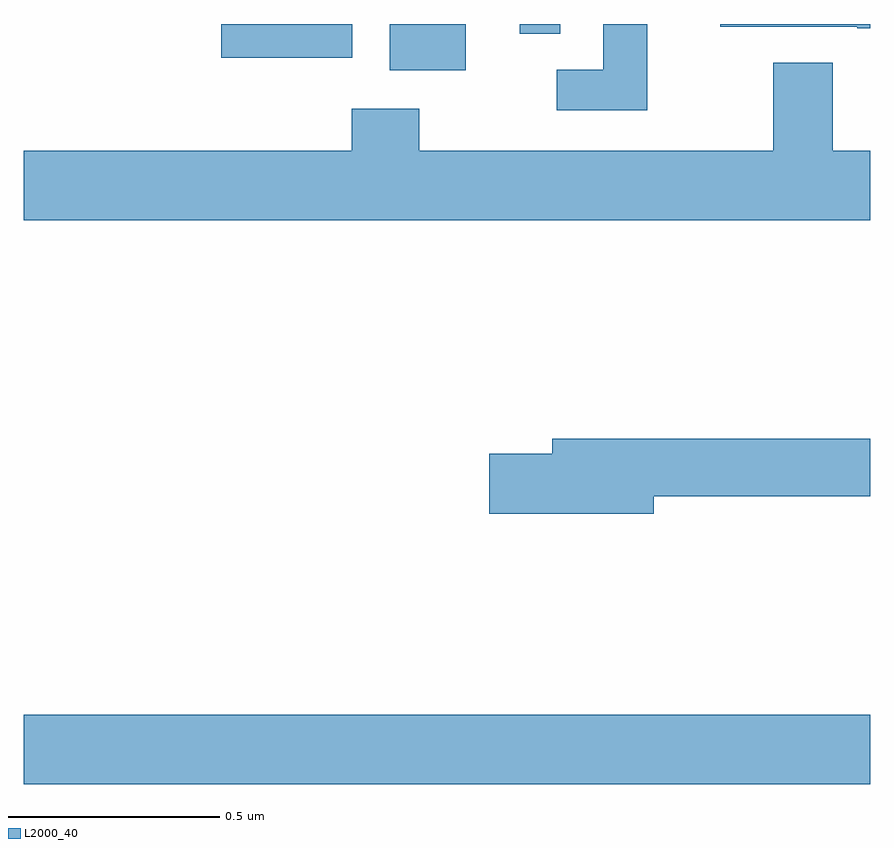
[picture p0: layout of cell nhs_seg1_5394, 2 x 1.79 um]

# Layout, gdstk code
import gdstk
lib = gdstk.Library(unit=1e-6, precision=1e-09)
def R(c, l, rs):  # rectangles x0, y0, x1, y1
    for r in rs: c.add(gdstk.rectangle(r[:2], r[2:], *l))
def P(c, l, *ps):  # polygons
    for p in ps: c.add(gdstk.Polygon(p, *l))
L2000_40 = (2000, 40)

nhs_seg1_5394 = lib.new_cell('nhs_seg1_5394')
R(nhs_seg1_5394, L2000_40, [(178,546.404,180,546.568), (178.865,548.09,179.044,548.199), (178.467,548.119,178.776,548.199), (179.172,548.176,179.268,548.199)])
P(nhs_seg1_5394, L2000_40, [(179.473,548.199),(179.369,548.199),(179.369,548.091),(179.259,548.091),(179.259,547.995),(179.473,547.995)],
  [(180,548.199),(179.645,548.199),(179.645,548.193),(179.969,548.193),(179.969,548.189),(180,548.189)],
  [(180,547.9),(179.911,547.9),(179.911,548.108),(179.771,548.108),(179.771,547.9),(178.935,547.9),(178.935,547.999),(178.775,547.999),(178.775,547.9),(178,547.9),(178,547.736),(180,547.736)],
  [(179.488,547.084),(180,547.084),(180,547.22),(179.249,547.22),(179.249,547.184),(179.1,547.184),(179.1,547.042),(179.488,547.042)])

lib.write_gds('nhs_seg1_5394.gds')
